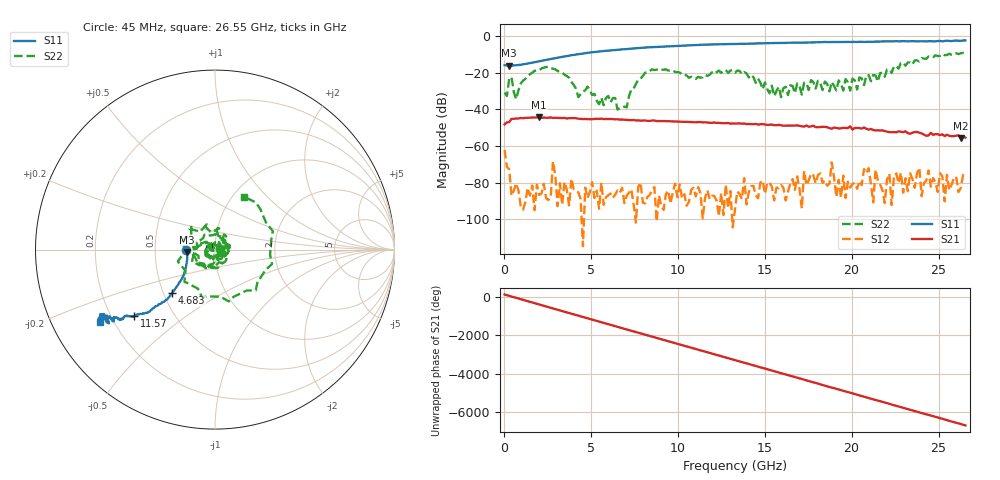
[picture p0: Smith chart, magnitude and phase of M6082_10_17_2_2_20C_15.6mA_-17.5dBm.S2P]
!  2-Port S-parameters saved by WinCal
! VAR MeasName=S-Parameters (CALIBRATED_DATA) read from VNA (C)
! VAR MeasDate=10/16/2015 4:02:34 PM
! VAR NAME=M6082_10_17_2_2_20C_15.6mA_-17.5dBm
! VAR FILENAME=M6082_10_17_2_2_20C_15.6mA_-17.5dBm.S2P
! VAR DATE=10/16/2015 4:02:34 PM
! VAR PHYS_PORTS=2,1
! VAR ObjTypeName=DATASET
! VAR IndexType=Frequency
# Hz S DB R 50
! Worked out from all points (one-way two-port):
!   201 points, 45 MHz to 26.55 GHz, reference 50 ohm
!   highest |S21| = -44.40 dB at 2.033 GHz (marker M1); lowest = -55.7 dB at 26.28 GHz (marker M2)
!   lowest |S11| = -16.1 dB at 310 MHz (marker M3), VSWR 1.37, Z = 36.6 - j1.03 ohm
!   |S11| at or under -10 dB: start of sweep to 4.207 GHz
!   |S22| runs from -40.2 to -9.2 dB; largest |S21 - S12| = 0.006
!   S11 on the Smith chart (normalised r, x): 45 MHz: 0.72, +0.00; 4.683 GHz: 0.55, -0.30; 11.57 GHz: 0.30, -0.33; 26.55 GHz: 0.15, -0.28
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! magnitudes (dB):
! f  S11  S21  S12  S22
! 45 MHz  -15.9  -48.2  -62.2  -30.9
! 310 MHz  -16.1  -47.0  -72.7  -23.3
! 707.5 MHz  -16.0  -45.1  -80.4  -34.5
! 2.033 GHz  -13.8  -44.4  -86.8  -18.7
! 2.695 GHz  -12.6  -44.4  -88.4  -17.4
! 2.828 GHz  -12.3  -44.7  -68.4  -17.9
! 3.092 GHz  -11.8  -44.7  -92.9  -19.1
! 4.55 GHz  -9.5  -45.3  -114.7  -30.3
! 4.683 GHz  -9.4  -45.3  -82.8  -29.6
! 7.067 GHz  -7.1  -45.8  -87.1  -39.0
! 8.922 GHz  -5.9  -46.4  -87.1  -18.0
! 11.57 GHz  -4.7  -47.1  -88.3  -21.2
! 13.29 GHz  -4.3  -47.8  -94.6  -20.0
! 15.95 GHz  -3.8  -48.7  -81.3  -33.4
! 17.8 GHz  -3.5  -49.0  -76.0  -25.1
! 18.73 GHz  -3.3  -50.3  -80.6  -30.2
! 18.86 GHz  -3.3  -50.6  -69.0  -25.1
! 19.12 GHz  -3.3  -50.1  -87.9  -29.8
! 20.32 GHz  -3.2  -50.2  -83.5  -29.2
! 22.17 GHz  -2.9  -52.5  -75.1  -18.3
! 26.28 GHz  -2.6  -55.7  -82.9  -9.4
! 26.55 GHz  -2.4  -55.5  -77.4  -9.5
